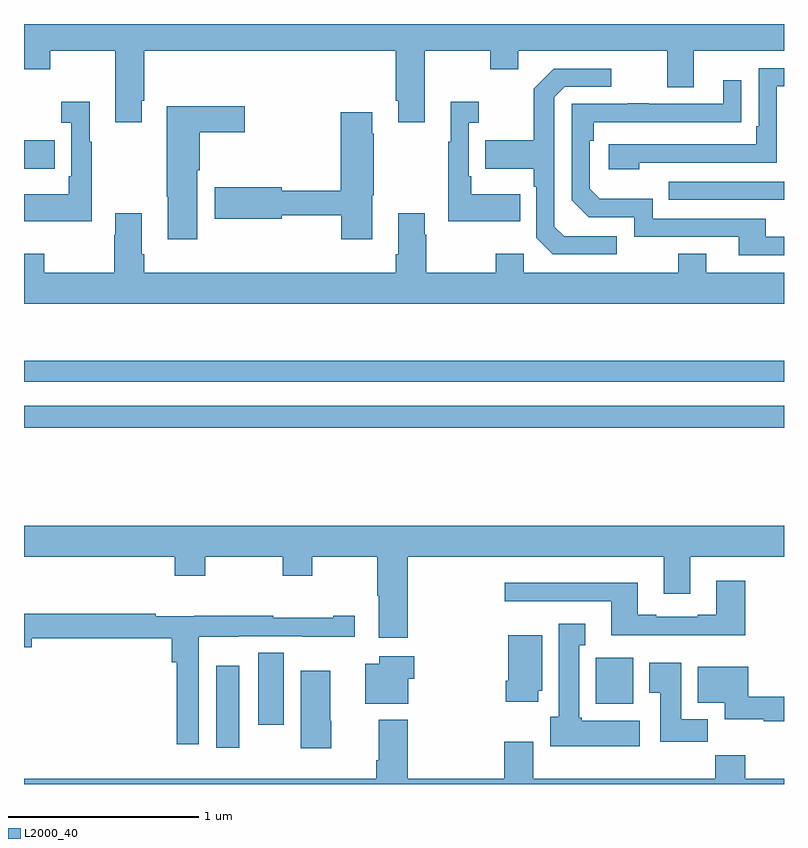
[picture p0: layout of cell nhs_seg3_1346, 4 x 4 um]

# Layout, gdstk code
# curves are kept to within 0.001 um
import gdstk
lib = gdstk.Library(unit=1e-6, precision=1e-09)
def R(c, l, rs):  # rectangles x0, y0, x1, y1
    for r in rs: c.add(gdstk.rectangle(r[:2], r[2:], *l))
def P(c, l, *ps):  # polygons
    for p in ps: c.add(gdstk.Polygon(p, *l))
L2000_40 = (2000, 40)

nhs_seg3_1346 = lib.new_cell('nhs_seg3_1346')
R(nhs_seg3_1346, L2000_40, [(182.012,686.592,182.134,687.022), (182.234,686.712,182.368,687.092), (184.01,686.822,184.207,687.064), (181,688.276,185,688.392), (181,688.518,185,688.627), (184.393,689.475,185,689.571), (181,689.639,181.163,689.787)])
P(nhs_seg3_1346, L2000_40, [(181.621,689.995),(181.634,689.995),(181.634,690.26),(182.957,690.26),(182.957,689.995),(182.969,689.995),(182.969,689.883),(183.109,689.883),(183.109,690.26),(183.454,690.26),(183.454,690.161),(183.601,690.161),(183.601,690.26),(184.385,690.26),(184.385,690.066),(184.525,690.066),(184.525,690.26),(185,690.26),(185,690.4),(181,690.4),(181,690.161),(181.137,690.161),(181.137,690.26),(181.481,690.26),(181.481,689.883),(181.621,689.883)],
  [(184.238,689.67),(184.962,689.67),(184.962,690.072),(185,690.072),(185,690.168),(184.866,690.168),(184.866,689.863),(184.853,689.863),(184.853,689.766),(184.077,689.766),(184.077,689.636),(184.238,689.636)],
  [(184.12,689.283),(183.843,689.283),(183.792,689.334),(183.792,690.015),(183.846,690.069),(184.09,690.069),(184.09,690.165),(183.789,690.165),(183.684,690.059),(183.684,689.787),(183.427,689.787),(183.427,689.639),(183.684,689.639),(183.684,689.543),(183.696,689.543),(183.696,689.274),(183.783,689.187),(184.12,689.187)],
  [(185,689.28),(184.903,689.28),(184.903,689.376),(184.308,689.376),(184.308,689.479),(184.031,689.479),(183.978,689.532),(183.978,689.786),(183.998,689.786),(183.998,689.883),(184.775,689.884),(184.775,690.103),(184.679,690.103),(184.679,689.979),(184.289,689.979),(184.289,689.984),(184.177,689.984),(184.177,689.979),(183.882,689.979),(183.882,689.472),(183.972,689.382),(184.212,689.382),(184.212,689.28),(184.763,689.28),(184.763,689.184),(185,689.184)],
  [(183.611,689.503),(183.355,689.503),(183.355,689.599),(183.342,689.599),(183.342,689.879),(183.394,689.879),(183.394,689.992),(183.245,689.992),(183.245,689.779),(183.234,689.779),(183.234,689.363),(183.611,689.363)],
  [(181.357,689.779),(181.345,689.779),(181.345,689.992),(181.197,689.992),(181.197,689.879),(181.248,689.879),(181.248,689.599),(181.236,689.599),(181.236,689.503),(181,689.503),(181,689.363),(181.357,689.363)],
  [(181.912,689.629),(181.925,689.629),(181.925,689.83),(182.161,689.83),(182.161,689.967),(181.75,689.967),(181.75,689.491),(181.757,689.491),(181.757,689.268),(181.912,689.268)],
  [(182.833,689.499),(182.841,689.499),(182.841,689.822),(182.833,689.822),(182.833,689.935),(182.666,689.935),(182.666,689.522),(182.356,689.522),(182.356,689.541),(182.004,689.541),(182.004,689.375),(182.356,689.375),(182.356,689.394),(182.671,689.394),(182.671,689.268),(182.833,689.268)],
  [(185,689.092),(184.591,689.092),(184.591,689.191),(184.444,689.191),(184.444,689.092),(183.63,689.092),(183.63,689.191),(183.484,689.191),(183.484,689.092),(183.117,689.092),(183.117,689.291),(183.109,689.291),(183.109,689.404),(182.969,689.404),(182.969,689.188),(182.957,689.188),(182.957,689.092),(181.634,689.092),(181.634,689.188),(181.621,689.188),(181.621,689.404),(181.481,689.404),(181.481,689.291),(181.474,689.291),(181.474,689.092),(181.107,689.092),(181.107,689.191),(181,689.191),(181,688.928),(185,688.928)],
  [(183.02,687.596),(184.367,687.596),(184.367,687.402),(184.507,687.402),(184.507,687.596),(185,687.596),(185,687.76),(181,687.76),(181,687.596),(181.793,687.596),(181.793,687.497),(181.953,687.497),(181.953,687.596),(182.362,687.596),(182.362,687.497),(182.517,687.497),(182.517,687.596),(182.86,687.596),(182.86,687.392),(182.867,687.392),(182.867,687.171),(183.02,687.171)],
  [(184.796,687.469),(184.643,687.469),(184.643,687.292),(184.547,687.292),(184.547,687.279),(184.327,687.279),(184.327,687.292),(184.231,687.292),(184.231,687.46),(183.531,687.46),(183.531,687.363),(184.091,687.363),(184.091,687.182),(184.796,687.182)],
  [(181.92,687.176),(182.13,687.176),(182.13,687.177),(182.464,687.177),(182.464,687.176),(182.74,687.176),(182.74,687.286),(182.627,687.286),(182.627,687.276),(182.312,687.276),(182.312,687.286),(181.896,687.286),(181.896,687.284),(181.694,687.284),(181.694,687.295),(181,687.295),(181,687.119),(181.042,687.119),(181.042,687.166),(181.778,687.166),(181.778,687.041),(181.804,687.041),(181.804,686.61),(181.92,686.61)],
  [(184.24,686.734),(183.936,686.734),(183.936,686.748),(183.922,686.748),(183.922,687.131),(183.955,687.131),(183.955,687.244),(183.815,687.244),(183.815,686.754),(183.77,686.754),(183.77,686.6),(184.24,686.6)],
  [(183.706,686.892),(183.727,686.892),(183.727,687.184),(183.548,687.184),(183.548,686.944),(183.536,686.944),(183.536,686.832),(183.706,686.832)],
  [(183.022,686.955),(183.053,686.955),(183.053,687.073),(182.87,687.073),(182.87,687.034),(182.795,687.034),(182.795,686.822),(183.022,686.822)],
  [(184.598,686.74),(184.459,686.74),(184.459,687.037),(184.292,687.037),(184.292,686.881),(184.349,686.881),(184.349,686.622),(184.598,686.622)],
  [(185,686.858),(184.811,686.858),(184.811,687.016),(184.547,687.016),(184.547,686.828),(184.688,686.828),(184.688,686.741),(184.894,686.741),(184.894,686.73),(185,686.73)],
  [(182.617,686.733),(182.611,686.733),(182.611,686.995),(182.456,686.995),(182.456,686.589),(182.617,686.589)],
  [(185,686.428),(184.796,686.428),(184.796,686.552),(184.639,686.552),(184.639,686.428),(183.679,686.428),(183.679,686.623),(183.527,686.623),(183.527,686.428),(183.02,686.428),(183.02,686.737),(182.867,686.737),(182.867,686.524),(182.855,686.524),(182.855,686.428),(181,686.428),(181,686.4),(185,686.4)])

lib.write_gds('nhs_seg3_1346.gds')
